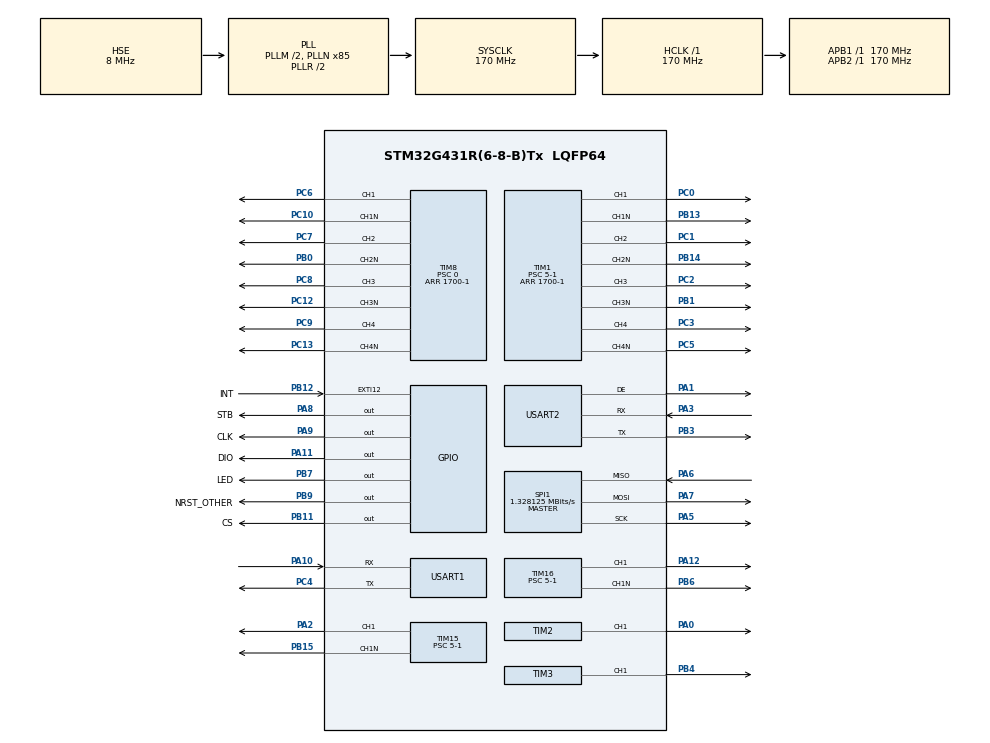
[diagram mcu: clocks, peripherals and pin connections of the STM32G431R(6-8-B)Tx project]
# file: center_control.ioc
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Dma.Request0=USART2_RX
Dma.USART2_RX.0.Direction=DMA_PERIPH_TO_MEMORY
Dma.USART2_RX.0.EventEnable=DISABLE
Dma.USART2_RX.0.Instance=DMA1_Channel1
Dma.USART2_RX.0.MemDataAlignment=DMA_MDATAALIGN_BYTE
Dma.USART2_RX.0.MemInc=DMA_MINC_ENABLE
Dma.USART2_RX.0.Mode=DMA_NORMAL
Dma.USART2_RX.0.PeriphDataAlignment=DMA_PDATAALIGN_BYTE
Dma.USART2_RX.0.PeriphInc=DMA_PINC_DISABLE
Dma.USART2_RX.0.Polarity=HAL_DMAMUX_REQ_GEN_RISING
Dma.USART2_RX.0.Priority=DMA_PRIORITY_LOW
Dma.USART2_RX.0.RequestNumber=1
Dma.USART2_RX.0.SignalID=NONE
Dma.USART2_RX.0.SyncEnable=DISABLE
Dma.USART2_RX.0.SyncPolarity=HAL_DMAMUX_SYNC_NO_EVENT
Dma.USART2_RX.0.SyncRequestNumber=1
Dma.USART2_RX.0.SyncSignalID=NONE
FREERTOS.Mutexes01=SysStateMutex,Dynamic,NULL,Available
FREERTOS.Queues01=Queue_Temp,4,float,0,Dynamic,NULL,NULL
FREERTOS.Tasks01=controlTask,40,512,StartcontrolTask,Default,NULL,Dynamic,NULL,NULL;HMITask,8,256,StartHMITask,Default,NULL,Dynamic,NULL,NULL
FREERTOS.configTOTAL_HEAP_SIZE=8192
Mcu.Family=STM32G4
Mcu.Name=STM32G431R(6-8-B)Tx
Mcu.Package=LQFP64
NVIC.DMA1_Channel1_IRQn=true\:5\:0\:false\:false\:true\:true\:false\:true\:true
NVIC.PriorityGroup=NVIC_PRIORITYGROUP_4
NVIC.TIM4_IRQn=true\:15\:0\:false\:false\:true\:false\:false\:true\:true
NVIC.TimeBase=TIM4_IRQn
NVIC.TimeBaseIP=TIM4
NVIC.USART2_IRQn=true\:6\:0\:true\:false\:true\:true\:true\:true\:true
PA0.Signal=S_TIM2_CH1
PA1.Mode=Hardware Flow Control (RS485)
PA1.Signal=USART2_DE
PA10.Mode=Asynchronous
PA10.Signal=USART1_RX
PA11.GPIO_Label=DIO
PA11.GPIO_ModeDefaultOutputPP=GPIO_MODE_OUTPUT_OD
PA11.GPIO_PuPd=GPIO_NOPULL
PA11.Signal=GPIO_Output
PA12.Signal=S_TIM16_CH1
PA13.Mode=Serial_Wire
PA13.Signal=SYS_JTMS-SWDIO
PA14.Mode=Serial_Wire
PA14.Signal=SYS_JTCK-SWCLK
PA2.Signal=S_TIM15_CH1
PA3.Mode=Asynchronous
PA3.Signal=USART2_RX
PA5.Mode=Full_Duplex_Master
PA5.Signal=SPI1_SCK
PA6.Mode=Full_Duplex_Master
PA6.Signal=SPI1_MISO
PA7.Mode=Full_Duplex_Master
PA7.Signal=SPI1_MOSI
PA8.GPIO_Label=STB
PA8.GPIO_ModeDefaultOutputPP=GPIO_MODE_OUTPUT_OD
PA8.GPIO_PuPd=GPIO_NOPULL
PA8.Signal=GPIO_Output
PA9.GPIO_Label=CLK
PA9.GPIO_ModeDefaultOutputPP=GPIO_MODE_OUTPUT_OD
PA9.GPIO_PuPd=GPIO_NOPULL
PA9.Signal=GPIO_Output
PB0.Mode=PWM Generation2 CH2 CH2N
PB0.Signal=TIM8_CH2N
PB1.Mode=PWM Generation3 CH3 CH3N
PB1.Signal=TIM1_CH3N
PB11.GPIO_Label=CS
PB11.Signal=GPIO_Output
PB12.GPIO_Label=INT
PB12.Signal=GPXTI12
PB13.Mode=PWM Generation1 CH1 CH1N
PB13.Signal=TIM1_CH1N
PB14.Mode=PWM Generation2 CH2 CH2N
PB14.Signal=TIM1_CH2N
PB15.Mode=PWM Generation1 CH1 CH1N
PB15.Signal=TIM15_CH1N
PB3.Mode=Asynchronous
PB3.Signal=USART2_TX
PB4.Signal=S_TIM3_CH1
PB6.Mode=PWM Generation1 CH1 CH1N
PB6.Signal=TIM16_CH1N
PB7.GPIO_Label=LED
PB7.Signal=GPIO_Output
PB9.GPIO_Label=NRST_OTHER
PB9.Signal=GPIO_Output
PC0.Signal=S_TIM1_CH1
PC1.Signal=S_TIM1_CH2
PC10.Mode=PWM Generation1 CH1 CH1N
PC10.Signal=TIM8_CH1N
PC12.Mode=PWM Generation3 CH3 CH3N
PC12.Signal=TIM8_CH3N
PC13.Mode=PWM Generation4 CH4 CH4N
PC13.Signal=TIM8_CH4N
PC2.Signal=S_TIM1_CH3
PC3.Signal=S_TIM1_CH4
PC4.Mode=Asynchronous
PC4.Signal=USART1_TX
PC5.Mode=PWM Generation4 CH4 CH4N
PC5.Signal=TIM1_CH4N
PC6.Signal=S_TIM8_CH1
PC7.Signal=S_TIM8_CH2
PC8.Signal=S_TIM8_CH3
PC9.Signal=S_TIM8_CH4
PF0-OSC_IN.Mode=HSE-External-Oscillator
PF0-OSC_IN.Signal=RCC_OSC_IN
PF1-OSC_OUT.Mode=HSE-External-Oscillator
PF1-OSC_OUT.Signal=RCC_OSC_OUT
ProjectManager.HeapSize=0x200
ProjectManager.StackSize=0x400
ProjectManager.TargetToolchain=MDK-ARM V5.32
RCC.ADC12Freq_Value=170000000
RCC.AHBFreq_Value=170000000
RCC.APB1Freq_Value=170000000
RCC.APB1TimFreq_Value=170000000
RCC.APB2Freq_Value=170000000
RCC.APB2TimFreq_Value=170000000
RCC.CortexFreq_Value=170000000
RCC.EXTERNAL_CLOCK_VALUE=12288000
RCC.HCLKFreq_Value=170000000
RCC.HSE_VALUE=8000000
RCC.HSI48_VALUE=48000000
RCC.HSI_VALUE=16000000
RCC.LSE_VALUE=32768
RCC.PLLM=RCC_PLLM_DIV2
RCC.PLLN=85
RCC.PLLSourceVirtual=RCC_PLLSOURCE_HSE
RCC.SYSCLKFreq_VALUE=170000000
RCC.SYSCLKSource=RCC_SYSCLKSOURCE_PLLCLK
RCC.USBFreq_Value=170000000
RCC.VCOOutputFreq_Value=340000000
SH.S_TIM15_CH1.0=TIM15_CH1,PWM Generation1 CH1 CH1N
SH.S_TIM16_CH1.0=TIM16_CH1,PWM Generation1 CH1 CH1N
SH.S_TIM1_CH1.0=TIM1_CH1,PWM Generation1 CH1 CH1N
SH.S_TIM1_CH2.0=TIM1_CH2,PWM Generation2 CH2 CH2N
SH.S_TIM1_CH3.0=TIM1_CH3,PWM Generation3 CH3 CH3N
SH.S_TIM1_CH4.0=TIM1_CH4,PWM Generation4 CH4 CH4N
SH.S_TIM2_CH1.0=TIM2_CH1,PWM Generation1 CH1
SH.S_TIM3_CH1.0=TIM3_CH1,PWM Generation1 CH1
SH.S_TIM8_CH1.0=TIM8_CH1,PWM Generation1 CH1 CH1N
SH.S_TIM8_CH2.0=TIM8_CH2,PWM Generation2 CH2 CH2N
SH.S_TIM8_CH3.0=TIM8_CH3,PWM Generation3 CH3 CH3N
SH.S_TIM8_CH4.0=TIM8_CH4,PWM Generation4 CH4 CH4N
SPI1.BaudRatePrescaler=SPI_BAUDRATEPRESCALER_128
SPI1.CalculateBaudRate=1.328125 MBits/s
SPI1.Direction=SPI_DIRECTION_2LINES
SPI1.Mode=SPI_MODE_MASTER
SPI1.VirtualType=VM_MASTER
TIM1.Channel-PWM\ Generation1\ CH1\ CH1N=TIM_CHANNEL_1
TIM1.Channel-PWM\ Generation2\ CH2\ CH2N=TIM_CHANNEL_2
TIM1.Channel-PWM\ Generation3\ CH3\ CH3N=TIM_CHANNEL_3
TIM1.Channel-PWM\ Generation4\ CH4\ CH4N=TIM_CHANNEL_4
TIM1.DeadTime=100-1
TIM1.DeadTimePreload=ENABLE
TIM1.OffStateIDLEMode=TIM_OSSI_ENABLE
TIM1.OffStateRunMode=TIM_OSSR_ENABLE
TIM1.PeriodNoDither=1700-1
TIM1.Prescaler=5-1
TIM15.Channel-PWM\ Generation1\ CH1\ CH1N=TIM_CHANNEL_1
TIM15.DeadTime=100
TIM15.DeadTimePreload=ENABLE
TIM15.OffStateIDLEMode=TIM_OSSI_ENABLE
TIM15.OffStateRunMode=TIM_OSSR_ENABLE
TIM15.PeriodNoDither=1700-1
TIM15.Prescaler=5-1
TIM16.Channel=TIM_CHANNEL_1
TIM16.DeadTime=100
TIM16.DeadTimePreload=ENABLE
TIM16.OffStateIDLEMode=TIM_OSSI_ENABLE
TIM16.OffStateRunMode=TIM_OSSR_ENABLE
TIM16.PeriodNoDither=1700-1
TIM16.Prescaler=5-1
TIM2.Channel-PWM\ Generation1\ CH1=TIM_CHANNEL_1
TIM2.PeriodNoDither=1000-1
TIM2.Prescaler=68-1
TIM3.Channel-PWM\ Generation1\ CH1=TIM_CHANNEL_1
TIM3.PeriodNoDither=1000-1
TIM3.Prescaler=85-1
TIM8.AsymmetricalDeadTime=DISABLE
TIM8.Channel-PWM\ Generation1\ CH1\ CH1N=TIM_CHANNEL_1
TIM8.Channel-PWM\ Generation2\ CH2\ CH2N=TIM_CHANNEL_2
TIM8.Channel-PWM\ Generation3\ CH3\ CH3N=TIM_CHANNEL_3
TIM8.Channel-PWM\ Generation4\ CH4\ CH4N=TIM_CHANNEL_4
TIM8.DeadTime=100
TIM8.DeadTimePreload=ENABLE
TIM8.OffStateIDLEMode=TIM_OSSI_ENABLE
TIM8.OffStateRunMode=TIM_OSSR_ENABLE
TIM8.PeriodNoDither=1700-1
TIM8.Prescaler=0
USART1.VirtualMode-Asynchronous=VM_ASYNC
USART2.VirtualMode-Asynchronous=VM_ASYNC
USART2.VirtualMode-Hardware\ Flow\ Control\ (RS485)=VM_ASYNC
VP_FREERTOS_VS_CMSIS_V2.Mode=CMSIS_V2
VP_SYS_VS_DBSignals.Mode=DisableDeadBatterySignals
VP_SYS_VS_tim4.Mode=TIM4
VP_TIM15_VS_ClockSourceINT.Mode=Internal
VP_TIM16_VS_ClockSourceINT.Mode=Enable_Timer
VP_TIM1_VS_ClockSourceINT.Mode=Internal
VP_TIM2_VS_ClockSourceINT.Mode=Internal
VP_TIM3_VS_ClockSourceINT.Mode=Internal
VP_TIM8_VS_ClockSourceINT.Mode=Internal
board=custom

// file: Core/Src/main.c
/* USER CODE BEGIN Header */
/**
 ******************************************************************************
 * @file           : main.c
 * @brief          : Main program body
 ******************************************************************************
 * @attention
 *
 * Copyright (c) 2026 STMicroelectronics.
 * All rights reserved.
 *
 * This software is licensed under terms that can be found in the LICENSE file
 * in the root directory of this software component.
 * If no LICENSE file comes with this software, it is provided AS-IS.
 *
 ******************************************************************************
 */
/* USER CODE END Header */
#include "main.h"
#include "cmsis_os.h"
#include "dma.h"
#include "spi.h"
#include "tim.h"
#include "usart.h"
#include "gpio.h"

/* USER CODE BEGIN Includes */
#include "tm1638_board.h"
#include "pid_controller.h"
/* USER CODE END Includes */

/* USER CODE BEGIN PV */
#define RX_BUFFER_SIZE 256
uint8_t rx_buffer[RX_BUFFER_SIZE];
uint16_t rx_length = 0;
TM1638_HandleTypeDef htm1638;

PID_TypeDef temp_pid;

// 定义温度存储数组 (索引 0~3 对应 CH1~CH4)
float Sys_Temperatures[4] = {0.0f};

// 定义一个状态数组，记录探头是否断开 (0:正常, 1:断开)
uint8_t Sys_Status[4] = {0};

int16_t count_tim4 = 0; // 记录 TIM4 的计数值
int8_t flag_temp_update = 0;
/* USER CODE END PV */

void SystemClock_Config(void);
void MX_FREERTOS_Init(void);
/* USER CODE BEGIN PFP */
void Parse_Temperature_Buffer(uint8_t *pData, uint16_t Size);
void Parse_Temperature_Byte(uint8_t rx_byte);
/* USER CODE END PFP */

/* USER CODE BEGIN 0 */
/* 1. 实现底层的硬件接口函数 */
void HW_SetSTB(bool state)
{
  HAL_GPIO_WritePin(STB_GPIO_Port, STB_Pin, state ? GPIO_PIN_SET : GPIO_PIN_RESET);
}

void HW_SetCLK(bool state)
{
  HAL_GPIO_WritePin(CLK_GPIO_Port, CLK_Pin, state ? GPIO_PIN_SET : GPIO_PIN_RESET);
}

void HW_SetDIO(bool state)
{
  HAL_GPIO_WritePin(DIO_GPIO_Port, DIO_Pin, state ? GPIO_PIN_SET : GPIO_PIN_RESET);
}

bool HW_GetDIO(void)
{
  return HAL_GPIO_ReadPin(DIO_GPIO_Port, DIO_Pin) == GPIO_PIN_SET;
}

void HW_DelayUs(uint32_t us)
{
  // STM32 简单的微秒延时（可根据主频调整，或者使用定时器，由于只要1-2us，用空循环即可）
  uint32_t delay = us * (SystemCoreClock / 1000000 / 4);
  while (delay--)
  {
    __NOP();
  }
}
uint8_t count = 0;
/* 2. 定义按键被按下时的业务逻辑 (回调函数) */
void OnModeKeyPressed(void)
{
  count++;
  if (count > 9)
    count = 0;
  TM1638_ShowDigit(&htm1638, 3, count, false); // 第4位数码管显示数字
  // MODE 键按下的逻辑
  TM1638_SetLED(&htm1638, 1, true); // 点亮 LED1 (NORMAL)
}

void OnStartStopKeyPressed(void)
{
  // START/STOP 键按下的逻辑
  TM1638_SetLED(&htm1638, 5, true); // 点亮 LED5 (STOP)
}

void OnUpKeyPressed(void)
{
  count++;
  if (count > 9)
    count = 0;
  TM1638_ShowDigit(&htm1638, 3, count, false); // 第4位数码管显示数字
}
/* USER CODE END 0 */

int main(void)
{

  /* MCU Configuration--------------------------------------------------------*/

  /* Reset of all peripherals, Initializes the Flash interface and the Systick. */
  HAL_Init();

  /* Configure the system clock */
  SystemClock_Config();

  /* Initialize all configured peripherals */
  MX_GPIO_Init();
  MX_DMA_Init();
  MX_SPI1_Init();
  MX_TIM1_Init();
  MX_TIM2_Init();
  MX_TIM3_Init();
  MX_TIM8_Init();
  MX_TIM15_Init();
  MX_TIM16_Init();
  MX_USART1_UART_Init();
  MX_USART2_UART_Init();
  /* USER CODE BEGIN 2 */
  HAL_Delay(200);
  // 启动带有空闲检测的 DMA 接收
  // 1. 启动 USART2 带有空闲检测的 DMA 接收
  HAL_UARTEx_ReceiveToIdle_DMA(&huart2, rx_buffer, RX_BUFFER_SIZE);

  // 2. 修正报错：直接通过 huart2 结构体内部的 hdmarx 指针来关闭过半中断
  __HAL_DMA_DISABLE_IT(huart2.hdmarx, DMA_IT_HT);

  HAL_TIM_PWM_Start(&htim1, TIM_CHANNEL_1);
  HAL_TIMEx_PWMN_Start(&htim1, TIM_CHANNEL_1);
  HAL_TIM_PWM_Start(&htim1, TIM_CHANNEL_2);
  HAL_TIMEx_PWMN_Start(&htim1, TIM_CHANNEL_2);
  HAL_TIM_PWM_Start(&htim1, TIM_CHANNEL_3);
  HAL_TIMEx_PWMN_Start(&htim1, TIM_CHANNEL_3);
  HAL_TIM_PWM_Start(&htim1, TIM_CHANNEL_4);
  HAL_TIMEx_PWMN_Start(&htim1, TIM_CHANNEL_4);

  HAL_TIM_PWM_Start(&htim8, TIM_CHANNEL_1);
  HAL_TIMEx_PWMN_Start(&htim8, TIM_CHANNEL_1);
  HAL_TIM_PWM_Start(&htim8, TIM_CHANNEL_2);
  HAL_TIMEx_PWMN_Start(&htim8, TIM_CHANNEL_2);
  HAL_TIM_PWM_Start(&htim8, TIM_CHANNEL_3);
  HAL_TIMEx_PWMN_Start(&htim8, TIM_CHANNEL_3);
  HAL_TIM_PWM_Start(&htim8, TIM_CHANNEL_4);
  HAL_TIMEx_PWMN_Start(&htim8, TIM_CHANNEL_4);

  HAL_TIM_PWM_Start(&htim15, TIM_CHANNEL_1);
  HAL_TIMEx_PWMN_Start(&htim15, TIM_CHANNEL_1);

  HAL_TIM_PWM_Start(&htim16, TIM_CHANNEL_1);
  HAL_TIMEx_PWMN_Start(&htim16, TIM_CHANNEL_1);

  __HAL_TIM_SET_COMPARE(&htim1, TIM_CHANNEL_1, 0);
  __HAL_TIM_SET_COMPARE(&htim1, TIM_CHANNEL_2, 0);

  __HAL_TIM_SET_COMPARE(&htim1, TIM_CHANNEL_3, 0);
  __HAL_TIM_SET_COMPARE(&htim1, TIM_CHANNEL_4, 0);

  __HAL_TIM_SET_COMPARE(&htim8, TIM_CHANNEL_1, 0);
  __HAL_TIM_SET_COMPARE(&htim8, TIM_CHANNEL_2, 0);

  __HAL_TIM_SET_COMPARE(&htim8, TIM_CHANNEL_3, 0);
  __HAL_TIM_SET_COMPARE(&htim8, TIM_CHANNEL_4, 0);

  __HAL_TIM_SET_COMPARE(&htim15, TIM_CHANNEL_1, 0);
  __HAL_TIM_SET_COMPARE(&htim16, TIM_CHANNEL_1, 0);

  HAL_TIM_PWM_Start(&htim2, TIM_CHANNEL_1);
  HAL_TIM_PWM_Start(&htim3, TIM_CHANNEL_1);
  __HAL_TIM_SET_COMPARE(&htim2, TIM_CHANNEL_1, 1000 - 1);

  HAL_Delay(1000);
  // 装配底层接口并初始化
  TM1638_HW_t hw = {HW_SetSTB, HW_SetCLK, HW_SetDIO, HW_GetDIO, HW_DelayUs};
  TM1638_Init(&htm1638, &hw);
  // 设置亮度 (0-7), 开启显示
  TM1638_SetBrightness(&htm1638, 5, true);
  // 注册按键回调函数
  TM1638_RegisterKeyCallback(&htm1638, KEY_MODE, OnModeKeyPressed);
  TM1638_RegisterKeyCallback(&htm1638, KEY_START_STOP, OnStartStopKeyPressed);
  TM1638_RegisterKeyCallback(&htm1638, KEY_UP, OnUpKeyPressed);
  // 开机显示一些默认状态
  TM1638_ShowFloat(&htm1638, -5.2f, 1);
  TM1638_SetLED(&htm1638, 4, true);
  TM1638_SetLED(&htm1638, 5, true);

  __HAL_TIM_SET_COMPARE(&htim2, TIM_CHANNEL_1, 500);
  __HAL_TIM_SET_COMPARE(&htim3, TIM_CHANNEL_1, 1000 - 1);

  // HAL_Delay(100);
  // __HAL_TIM_SET_COMPARE(&htim8, TIM_CHANNEL_2, 100);
  // HAL_Delay(100);
  // __HAL_TIM_SET_COMPARE(&htim8, TIM_CHANNEL_2, 200);
  // HAL_Delay(100);
  // __HAL_TIM_SET_COMPARE(&htim8, TIM_CHANNEL_2, 300);
  // HAL_Delay(100);
  // __HAL_TIM_SET_COMPARE(&htim8, TIM_CHANNEL_2, 400);
  // HAL_Delay(100);
  // __HAL_TIM_SET_COMPARE(&htim8, TIM_CHANNEL_2, 600);
  // HAL_Delay(100);
  // __HAL_TIM_SET_COMPARE(&htim8, TIM_CHANNEL_2, 800);
  // //		HAL_Delay(100);
  // //	__HAL_TIM_SET_COMPARE(&htim8, TIM_CHANNEL_2, 900);
  // //			HAL_Delay(1000);
  // //	__HAL_TIM_SET_COMPARE(&htim8, TIM_CHANNEL_2, 1000);

  // //
  // //
  // HAL_Delay(100);
  // __HAL_TIM_SET_COMPARE(&htim1, TIM_CHANNEL_2, 100);
  // HAL_Delay(100);
  // __HAL_TIM_SET_COMPARE(&htim1, TIM_CHANNEL_2, 200);
  // HAL_Delay(100);
  // __HAL_TIM_SET_COMPARE(&htim1, TIM_CHANNEL_2, 300);
  // HAL_Delay(100);
  // __HAL_TIM_SET_COMPARE(&htim1, TIM_CHANNEL_2, 350);
  // HAL_Delay(100);
  // __HAL_TIM_SET_COMPARE(&htim1, TIM_CHANNEL_2, 600);
  // HAL_Delay(100);
  // __HAL_TIM_SET_COMPARE(&htim1, TIM_CHANNEL_2, 700);
  ////		HAL_Delay(100);
  ////	__HAL_TIM_SET_COMPARE(&htim1, TIM_CHANNEL_2, 900);
  //
  //
  //			HAL_Delay(100);
  //	__HAL_TIM_SET_COMPARE(&htim15, TIM_CHANNEL_1, 100);
  //	HAL_Delay(100);
  //	__HAL_TIM_SET_COMPARE(&htim15, TIM_CHANNEL_1, 200);
  //	HAL_Delay(100);
  //	__HAL_TIM_SET_COMPARE(&htim15, TIM_CHANNEL_1, 300);
  //	HAL_Delay(100);
  //	__HAL_TIM_SET_COMPARE(&htim15, TIM_CHANNEL_1, 400);
  //		HAL_Delay(100);
  //	__HAL_TIM_SET_COMPARE(&htim15, TIM_CHANNEL_1, 600);
  //		HAL_Delay(100);
  //	__HAL_TIM_SET_COMPARE(&htim15, TIM_CHANNEL_1, 700);
  //		HAL_Delay(100);
  ////	__HAL_TIM_SET_COMPARE(&htim16, TIM_CHANNEL_1, 900);
  ////			HAL_Delay(100);
  ////	__HAL_TIM_SET_COMPARE(&htim1, TIM_CHANNEL_4, 1000);
  //

  // // 1. 初始化 PID: Kp=2.0, Ki=5.0, Kd=0.1, 采样周期 dt=0.01秒 (即 100Hz)
  // PID_Init(&temp_pid, 30.0f, 1.0f, 0.0f, 0.1f);

  // // 2. 设置限幅: 输出限制在 -100 到 100 (占空比), 积分限制在 -40 到 40
  // PID_SetLimits(&temp_pid, 700, 1699, 700, 1600);

  // // 3. 设置目标值：让电机达到 1500 RPM
  // PID_SetTarget(&temp_pid, -10.0f);

  //
  HAL_GPIO_WritePin(NRST_OTHER_GPIO_Port, NRST_OTHER_Pin, GPIO_PIN_SET);
  uint32_t last_scan_time = 0;
  float temp = 0.0f;

  /* USER CODE END 2 */

  /* Init scheduler */
  osKernelInitialize();  /* Call init function for freertos objects (in cmsis_os2.c) */
  MX_FREERTOS_Init();

  /* Start scheduler */
  osKernelStart();

  /* We should never get here as control is now taken by the scheduler */

  /* Infinite loop */
  while (1)
  {

    /* USER CODE BEGIN 3 */
    // temp += 0.1f;
    // TM1638_ShowFloat(&htm1638, temp, 1);
    // if (HAL_GetTick() - last_scan_time >= 20)
    // {
    //   last_scan_time = HAL_GetTick();

    //   // 这个函数内部会自动读取按键，并在有按键按下时，触发我们上面注册的 OnxxxKeyPressed()
    //   TM1638_ProcessKeys(&htm1638);
    // }

    if (flag_temp_update) // 如果温度数据已更新
    {
      // 计算 PID 输出
      int control_output = (int)PID_Compute(&temp_pid, Sys_Temperatures[1]);
      // 执行输出
      __HAL_TIM_SET_COMPARE(&htim8, TIM_CHANNEL_2, 1700 - control_output);
      flag_temp_update = 0; // 重置温度更新标志，等待下一次温度数据更新
    }
    if (count_tim4 % 1000 == 0)
    {
      HAL_GPIO_TogglePin(LED_GPIO_Port, LED_Pin);
      TM1638_ShowFloat(&htm1638, Sys_Temperatures[0], 1);
      TM1638_SetLED(&htm1638, 4, true);
      TM1638_SetLED(&htm1638, 5, false);
    }
    else if (count_tim4 % 1999 == 0)
    {
      HAL_GPIO_TogglePin(LED_GPIO_Port, LED_Pin);
      TM1638_ShowFloat(&htm1638, Sys_Temperatures[1], 1);
      TM1638_SetLED(&htm1638, 4, false);
      TM1638_SetLED(&htm1638, 5, true);

      count_tim4 = 1;
    }

    // HAL_GPIO_TogglePin(LED_GPIO_Port, LED_Pin);
    // HAL_Delay(1000);
    // TM1638_ShowFloat(&htm1638, Sys_Temperatures[0], 1);
    // TM1638_SetLED(&htm1638, 4, true);
    // TM1638_SetLED(&htm1638, 5, false);
    // HAL_Delay(1000);
    // TM1638_ShowFloat(&htm1638, Sys_Temperatures[1], 1);
    // TM1638_SetLED(&htm1638, 4, false);
    // TM1638_SetLED(&htm1638, 5, true);
  }
  /* USER CODE END 3 */
}

void SystemClock_Config(void)
{
  RCC_OscInitTypeDef RCC_OscInitStruct = {0};
  RCC_ClkInitTypeDef RCC_ClkInitStruct = {0};

  /** Configure the main internal regulator output voltage
  */
  HAL_PWREx_ControlVoltageScaling(PWR_REGULATOR_VOLTAGE_SCALE1_BOOST);

  /** Initializes the RCC Oscillators according to the specified parameters
  * in the RCC_OscInitTypeDef structure.
  */
  RCC_OscInitStruct.OscillatorType = RCC_OSCILLATORTYPE_HSE;
  RCC_OscInitStruct.HSEState = RCC_HSE_ON;
  RCC_OscInitStruct.PLL.PLLState = RCC_PLL_ON;
  RCC_OscInitStruct.PLL.PLLSource = RCC_PLLSOURCE_HSE;
  RCC_OscInitStruct.PLL.PLLM = RCC_PLLM_DIV2;
  RCC_OscInitStruct.PLL.PLLN = 85;
  RCC_OscInitStruct.PLL.PLLP = RCC_PLLP_DIV2;
  RCC_OscInitStruct.PLL.PLLQ = RCC_PLLQ_DIV2;
  RCC_OscInitStruct.PLL.PLLR = RCC_PLLR_DIV2;
  if (HAL_RCC_OscConfig(&RCC_OscInitStruct) != HAL_OK)
  {
    Error_Handler();
  }

  /** Initializes the CPU, AHB and APB buses clocks
  */
  RCC_ClkInitStruct.ClockType = RCC_CLOCKTYPE_HCLK|RCC_CLOCKTYPE_SYSCLK
                              |RCC_CLOCKTYPE_PCLK1|RCC_CLOCKTYPE_PCLK2;
  RCC_ClkInitStruct.SYSCLKSource = RCC_SYSCLKSOURCE_PLLCLK;
  RCC_ClkInitStruct.AHBCLKDivider = RCC_SYSCLK_DIV1;
  RCC_ClkInitStruct.APB1CLKDivider = RCC_HCLK_DIV1;
  RCC_ClkInitStruct.APB2CLKDivider = RCC_HCLK_DIV1;

  if (HAL_RCC_ClockConfig(&RCC_ClkInitStruct, FLASH_LATENCY_4) != HAL_OK)
  {
    Error_Handler();
  }
}

/* USER CODE BEGIN 4 */
void HAL_UARTEx_RxEventCallback(UART_HandleTypeDef *huart, uint16_t Size)
{
  // 判断是否是 USART2 触发的接收完成/空闲中断
  if (huart->Instance == USART2)
  {
    // 2. 将这次 DMA 收到的数据块扔给解析器提取温度
    Parse_Temperature_Buffer(rx_buffer, Size);

    // 3. 必须重新开启 USART2 的 DMA 接收，否则只能收一次
    HAL_UARTEx_ReceiveToIdle_DMA(&huart2, rx_buffer, RX_BUFFER_SIZE);

    // 4. 再次关闭过半中断，防止接收一半时触发不必要的中断打断 CPU
    __HAL_DMA_DISABLE_IT(huart->hdmarx, DMA_IT_HT);
  }
}

/**
 * @brief  字节级协议解析状态机 (自动处理粘包/断包)
 * @param  rx_byte 接收到的单字节
 */
void Parse_Temperature_Byte(uint8_t rx_byte)
{
  static uint8_t state = 0;
  static uint8_t frame_buf[9];
  static uint8_t idx = 0;

  switch (state)
  {
  case 0: // 寻找帧头 1
    if (rx_byte == 0xAA)
    {
      frame_buf[0] = rx_byte;
      state = 1;
    }
    break;

  case 1: // 寻找帧头 2
    if (rx_byte == 0x55)
    {
      frame_buf[1] = rx_byte;
      idx = 2;
      state = 2;
    }
    else if (rx_byte == 0xAA)
    {
      state = 1; // 容错：连续收到两个 AA
    }
    else
    {
      state = 0; // 帧头错误，状态机复位
    }
    break;

  case 2: // 接收数据体与校验和
    frame_buf[idx++] = rx_byte;

    if (idx >= 9)
    { // 收集满一帧 9 字节
      // 1. 计算校验和
      uint8_t sum = 0;
      for (int i = 2; i <= 7; i++)
      {
        sum += frame_buf[i];
      }

      // 2. 验证校验和
      if (sum == frame_buf[8])
      {
        uint8_t ch_id = frame_buf[2];  // 通道号 1~4
        uint8_t status = frame_buf[3]; // 状态位

        // 3. 提取并保存数据
        if (ch_id >= 1 && ch_id <= 4)
        {
          Sys_Status[ch_id - 1] = status; // 保存状态

          if (status == 0)
          {
            // 状态正常时，提取浮点温度数据
            float temp_val;
            uint8_t *pTemp = (uint8_t *)&temp_val;
            pTemp[0] = frame_buf[4];
            pTemp[1] = frame_buf[5];
            pTemp[2] = frame_buf[6];
            pTemp[3] = frame_buf[7];

            // 存入全局温度数组
            Sys_Temperatures[ch_id - 1] = temp_val;

                     // printf("CH%d OK: %.4f\r\n", ch_id, temp_val);
            if (ch_id == 2) // 如果是 CH2 的温度更新了，设置标志让主循环计算 PID 输出
            {
              flag_temp_update = 1;
            }
          }
          else
          {
            // 如果状态为 1 (断开/超时)，为了安全，可以把该通道温度设为一个异常值 (例如 -999.0)
            // Sys_Temperatures[ch_id - 1] = -999.0f;
          }
        }
      }
      // 解析完毕，状态机归零，准备迎接下一帧
      state = 0;
    }
    break;
  }
}

/**
 * @brief  数据块解析函数 (供空闲中断调用)
 * @param  pData 接收到的数据首地址
 * @param  Size  接收到的数据长度
 */
void Parse_Temperature_Buffer(uint8_t *pData, uint16_t Size)
{
  for (uint16_t i = 0; i < Size; i++)
  {
    Parse_Temperature_Byte(pData[i]); // 将数据块逐字节喂给状态机
  }
}

void HAL_TIM_PeriodElapsedCallback(TIM_HandleTypeDef *htim)
{
  // // 判断是不是 TIM2 触发的中断
  // if (htim->Instance == TIM4)
  // {
  //   count_tim4++;
  // }
}
/* USER CODE END 4 */

void HAL_TIM_PeriodElapsedCallback(TIM_HandleTypeDef *htim)
{
  if (htim->Instance == TIM4)
  {
    HAL_IncTick();
  }
}

void Error_Handler(void)
{
  __disable_irq();
  while (1)
  {
  }
}

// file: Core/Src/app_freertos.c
/* USER CODE BEGIN Header */
/**
 ******************************************************************************
 * File Name          : app_freertos.c
 * Description        : Code for freertos applications
 ******************************************************************************
 * @attention
 *
 * Copyright (c) 2026 STMicroelectronics.
 * All rights reserved.
 *
 * This software is licensed under terms that can be found in the LICENSE file
 * in the root directory of this software component.
 * If no LICENSE file comes with this software, it is provided AS-IS.
 *
 ******************************************************************************
 */
/* USER CODE END Header */

#include "FreeRTOS.h"
#include "task.h"
#include "main.h"
#include "cmsis_os.h"

/* USER CODE BEGIN Includes */
#include "sys_state.h"
/* USER CODE END Includes */

/* USER CODE BEGIN Variables */
// 1. 真正定义这个全局变量，并赋初值
SystemState_t g_SysState = {
    .current_temp = 25.0f,
    .target_temp = 25.0f,
    .work_mode = 0};
/* USER CODE END Variables */
/* Definitions for controlTask */
osThreadId_t controlTaskHandle;
const osThreadAttr_t controlTask_attributes = {
  .name = "controlTask",
  .priority = (osPriority_t) osPriorityHigh,
  .stack_size = 512 * 4
};
/* Definitions for HMITask */
osThreadId_t HMITaskHandle;
const osThreadAttr_t HMITask_attributes = {
  .name = "HMITask",
  .priority = (osPriority_t) osPriorityLow,
  .stack_size = 256 * 4
};
/* Definitions for Queue_Temp */
osMessageQueueId_t Queue_TempHandle;
const osMessageQueueAttr_t Queue_Temp_attributes = {
  .name = "Queue_Temp"
};
/* Definitions for SysStateMutex */
osMutexId_t SysStateMutexHandle;
const osMutexAttr_t SysStateMutex_attributes = {
  .name = "SysStateMutex"
};

void StartcontrolTask(void *argument);
void StartHMITask(void *argument);

void MX_FREERTOS_Init(void); /* (MISRA C 2004 rule 8.1) */

void MX_FREERTOS_Init(void) {
  /* Create the mutex(es) */
  /* creation of SysStateMutex */
  SysStateMutexHandle = osMutexNew(&SysStateMutex_attributes);

  /* Create the queue(s) */
  /* creation of Queue_Temp */
  Queue_TempHandle = osMessageQueueNew (4, sizeof(float), &Queue_Temp_attributes);

  /* Create the thread(s) */
  /* creation of controlTask */
  controlTaskHandle = osThreadNew(StartcontrolTask, NULL, &controlTask_attributes);

  /* creation of HMITask */
  HMITaskHandle = osThreadNew(StartHMITask, NULL, &HMITask_attributes);

}

void StartcontrolTask(void *argument)
{
  for (;;)
  {
    osDelay(1);
  }
}

void StartHMITask(void *argument)
{
  for (;;)
  {
    osDelay(1);
  }
}
